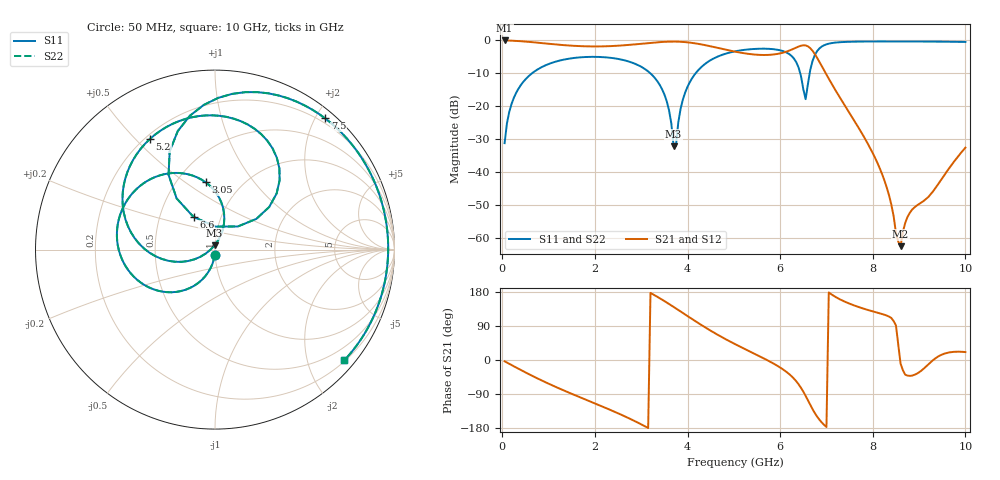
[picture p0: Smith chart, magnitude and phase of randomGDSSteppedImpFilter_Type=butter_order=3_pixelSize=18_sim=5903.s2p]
! freq	dB(S11)	phase(S11)	dB(S12)	phase(S12)
!  dB(S21)	phase(S21)	dB(S22)	phase(S22)
!S-par simulation data
#  GHz  S  DB  R 50
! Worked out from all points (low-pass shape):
!   200 points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, 50 MHz to 10 GHz, reference 50 ohm
!   highest |S21| = -0.01 dB at 50 MHz (marker M1); lowest = -62.5 dB at 8.6 GHz (marker M2)
!   |S21| within 3 dB of the highest: start of sweep to 4.887 GHz; 6.211 GHz to 6.691 GHz (479.6 MHz wide, 7.43 % of centre)
!   lowest |S11| = -32.2 dB at 3.7 GHz (marker M3), VSWR 1.05, Z = 49.7 + j2.43 ohm
!   |S11| at or under -10 dB: start of sweep to 641.3 MHz; 3.198 GHz to 4.174 GHz (976.3 MHz wide, 26.5 % of centre); 6.433 GHz to 6.638 GHz (204.6 MHz wide, 3.13 % of centre)
!   |S22| runs from -32.2 to -0.3 dB; largest |S21 - S12| = 0
!   S11 on the Smith chart (normalised r, x): 50 MHz: 1.00, -0.05; 3.05 GHz: 0.69, +0.60; 5.2 GHz: 0.22, +0.55; 6.6 GHz: 0.74, +0.28; 7.5 GHz: 0.13, +2.14; 10 GHz: 0.22, -2.69
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0.05  -31.21 -93.4  -0.01 -3.4  -0.01 -3.4  -31.21 -93.4
0.2  -19.29 -103.8  -0.07 -13.4  -0.07 -13.4  -19.29 -103.8
0.5  -11.83 -123.2  -0.34 -32.7  -0.34 -32.7  -11.83 -123.2
1.75  -5.07 167.6  -1.77 -102.0  -1.77 -102.0  -5.07 167.6
3.05  -8.42 98.0  -0.94 -173.0  -0.94 -173.0  -8.42 98.0
3.4  -13.51 76.3  -0.50 163.0  -0.50 163.0  -13.51 76.3
3.6  -21.18 68.1  -0.37 147.9  -0.37 147.9  -21.18 68.1
3.7  -32.22 94.9  -0.35 140.1  -0.35 140.1  -32.20 95.0
4.1  -11.46 -166.5  -0.75 107.9  -0.75 107.9  -11.46 -166.5
5.05  -3.25 129.3  -3.47 40.4  -3.47 40.4  -3.25 129.3
5.2  -2.91 120.4  -3.85 31.2  -3.85 31.2  -2.91 120.3
5.8  -2.59 85.0  -4.35 -5.5  -4.35 -5.5  -2.59 85.0
6.25  -4.76 51.7  -2.78 -43.3  -2.78 -43.3  -4.76 51.7
6.55  -17.85 88.3  -1.51 -94.6  -1.51 -94.6  -17.84 88.3
6.6  -13.25 123.3  -1.80 -106.4  -1.80 -106.4  -13.24 123.3
6.7  -6.20 121.9  -3.16 -129.8  -3.16 -129.8  -6.20 121.8
7  -1.18 83.8  -10.39 -176.9  -10.39 -176.9  -1.18 83.7
7.5  -0.40 50.0  -22.12 148.6  -22.12 148.6  -0.40 50.0
8.35  -0.30 14.0  -47.01 114.6  -47.01 114.6  -0.30 14.0
8.6  -0.31 5.0  -62.53 -9.3  -62.53 -9.3  -0.31 5.0
8.8  -0.31 -2.0  -52.38 -41.8  -52.38 -41.8  -0.31 -2.0
10  -0.46 -40.6  -32.59 20.9  -32.59 20.9  -0.46 -40.6
